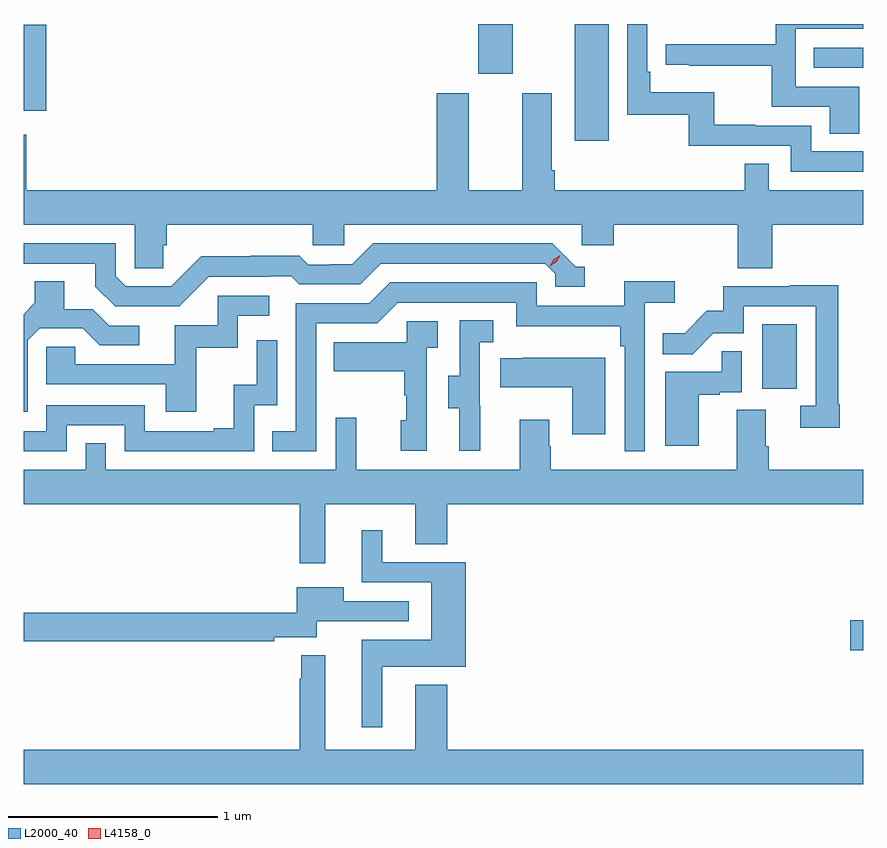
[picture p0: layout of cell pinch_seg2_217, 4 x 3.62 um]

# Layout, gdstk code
import gdstk
lib = gdstk.Library(unit=1e-6, precision=1e-09)
def R(c, l, rs):  # rectangles x0, y0, x1, y1
    for r in rs: c.add(gdstk.rectangle(r[:2], r[2:], *l))
def P(c, l, *ps):  # polygons
    for p in ps: c.add(gdstk.Polygon(p, *l))
L2000_40 = (2000, 40)
L4158_0 = (4158, 0)

pinch_seg2_217 = lib.new_cell('pinch_seg2_217')
R(pinch_seg2_217, L2000_40, [(1014.486,645.61,1014.549,645.752), (1014.068,646.854,1014.232,647.161), (1013.174,648.036,1013.335,648.592), (1010.549,648.179,1010.656,648.589), (1012.715,648.354,1012.879,648.592), (1014.313,648.384,1014.549,648.48)])
P(pinch_seg2_217, L2000_40, [(1014.549,647.985),(1014.3,647.985),(1014.3,648.108),(1014.035,648.108),(1014.035,648.113),(1013.839,648.113),(1013.839,648.268),(1013.534,648.268),(1013.534,648.364),(1013.52,648.364),(1013.52,648.592),(1013.424,648.592),(1013.424,648.159),(1013.718,648.159),(1013.718,648.012),(1014.204,648.012),(1014.204,647.889),(1014.549,647.889)],
  [(1014.529,648.294),(1014.228,648.294),(1014.228,648.57),(1014.549,648.57),(1014.549,648.592),(1014.132,648.592),(1014.132,648.495),(1013.607,648.495),(1013.607,648.399),(1013.719,648.399),(1013.719,648.394),(1014.112,648.394),(1014.112,648.198),(1014.389,648.198),(1014.389,648.07),(1014.529,648.07)],
  [(1011.215,647.538),(1011.23,647.538),(1011.23,647.636),(1011.927,647.636),(1011.927,647.538),(1012.077,647.538),(1012.077,647.636),(1013.208,647.636),(1013.208,647.538),(1013.36,647.538),(1013.36,647.636),(1013.951,647.636),(1013.951,647.428),(1014.116,647.428),(1014.116,647.636),(1014.549,647.636),(1014.549,647.8),(1014.099,647.8),(1014.099,647.927),(1013.983,647.927),(1013.983,647.8),(1013.078,647.8),(1013.078,647.896),(1013.065,647.896),(1013.065,648.262),(1012.925,648.262),(1012.925,647.8),(1012.669,647.8),(1012.669,648.262),(1012.517,648.262),(1012.517,647.8),(1010.561,647.8),(1010.561,648.064),(1010.549,648.064),(1010.549,647.636),(1011.078,647.636),(1011.078,647.428),(1011.215,647.428)],
  [(1011.432,647.388),(1011.725,647.388),(1011.725,647.391),(1011.824,647.391),(1011.863,647.352),(1012.152,647.352),(1012.251,647.451),(1013.034,647.451),(1013.082,647.403),(1013.082,647.34),(1013.221,647.34),(1013.221,647.436),(1013.178,647.436),(1013.067,647.547),(1012.214,647.547),(1012.115,647.448),(1012.008,647.448),(1012.008,647.445),(1011.905,647.445),(1011.863,647.488),(1011.63,647.488),(1011.63,647.485),(1011.394,647.485),(1011.252,647.343),(1011.036,647.343),(1010.988,647.391),(1010.988,647.547),(1010.549,647.547),(1010.549,647.451),(1010.891,647.451),(1010.891,647.341),(1010.985,647.247),(1011.291,647.247)],
  [(1010.568,647.085),(1010.625,647.142),(1010.831,647.142),(1010.912,647.061),(1011.1,647.061),(1011.1,647.154),(1010.958,647.154),(1010.878,647.234),(1010.743,647.234),(1010.743,647.366),(1010.603,647.366),(1010.603,647.264),(1010.549,647.21),(1010.549,646.746),(1010.568,646.746)],
  [(1011.942,647.166),(1012.233,647.166),(1012.332,647.265),(1012.896,647.265),(1012.896,647.153),(1013.392,647.153),(1013.392,647.057),(1013.412,647.057),(1013.412,646.557),(1013.508,646.557),(1013.508,647.264),(1013.65,647.264),(1013.65,647.366),(1013.411,647.366),(1013.411,647.25),(1012.992,647.25),(1012.992,647.361),(1012.295,647.361),(1012.196,647.262),(1011.846,647.262),(1011.846,646.653),(1011.733,646.653),(1011.733,646.557),(1011.942,646.557)],
  [(1014.437,646.78),(1014.43,646.78),(1014.43,647.348),(1014.199,647.348),(1014.199,647.343),(1013.881,647.343),(1013.881,647.226),(1013.804,647.226),(1013.697,647.119),(1013.593,647.119),(1013.593,647.02),(1013.737,647.02),(1013.835,647.118),(1013.979,647.118),(1013.979,647.247),(1014.321,647.247),(1014.321,646.773),(1014.249,646.773),(1014.249,646.668),(1014.437,646.668)],
  [(1011.371,647.049),(1011.57,647.049),(1011.57,647.202),(1011.718,647.202),(1011.718,647.298),(1011.474,647.298),(1011.474,647.157),(1011.269,647.157),(1011.269,646.971),(1010.795,646.971),(1010.795,647.055),(1010.658,647.055),(1010.658,646.875),(1011.227,646.875),(1011.227,646.746),(1011.371,646.746)],
  [(1012.724,646.773),(1012.722,646.773),(1012.722,647.077),(1012.786,647.077),(1012.786,647.18),(1012.626,647.18),(1012.626,646.917),(1012.571,646.917),(1012.571,646.762),(1012.625,646.762),(1012.625,646.56),(1012.724,646.56)],
  [(1012.47,647.051),(1012.522,647.051),(1012.522,647.175),(1012.374,647.175),(1012.374,647.077),(1012.027,647.077),(1012.027,646.937),(1012.362,646.937),(1012.362,646.823),(1012.372,646.823),(1012.372,646.704),(1012.346,646.704),(1012.346,646.56),(1012.47,646.56)],
  [(1010.754,646.68),(1011.03,646.68),(1011.03,646.557),(1011.648,646.557),(1011.648,646.776),(1011.756,646.776),(1011.756,647.086),(1011.66,647.086),(1011.66,646.874),(1011.551,646.874),(1011.551,646.666),(1011.455,646.666),(1011.455,646.653),(1011.126,646.653),(1011.126,646.776),(1010.658,646.776),(1010.658,646.653),(1010.549,646.653),(1010.549,646.557),(1010.754,646.557)],
  [(1013.764,646.827),(1013.864,646.827),(1013.864,646.839),(1013.97,646.839),(1013.97,647.033),(1013.875,647.033),(1013.875,646.935),(1013.606,646.935),(1013.606,646.584),(1013.764,646.584)],
  [(1013.32,647.002),(1012.927,647.002),(1012.927,646.999),(1012.819,646.999),(1012.819,646.862),(1013.162,646.862),(1013.162,646.638),(1013.32,646.638)],
  [(1011.985,646.304),(1012.415,646.304),(1012.415,646.114),(1012.568,646.114),(1012.568,646.304),(1014.549,646.304),(1014.549,646.468),(1014.098,646.468),(1014.098,646.58),(1014.085,646.58),(1014.085,646.754),(1013.945,646.754),(1013.945,646.468),(1013.061,646.468),(1013.061,646.58),(1013.053,646.58),(1013.053,646.708),(1012.913,646.708),(1012.913,646.468),(1012.133,646.468),(1012.133,646.717),(1012.035,646.717),(1012.035,646.468),(1010.94,646.468),(1010.94,646.595),(1010.844,646.595),(1010.844,646.468),(1010.549,646.468),(1010.549,646.304),(1011.864,646.304),(1011.864,646.023),(1011.985,646.023)],
  [(1012.258,645.53),(1012.654,645.53),(1012.654,646.029),(1012.258,646.029),(1012.258,646.18),(1012.16,646.18),(1012.16,645.933),(1012.49,645.933),(1012.49,645.658),(1012.16,645.658),(1012.16,645.243),(1012.258,645.243)],
  [(1011.742,645.672),(1011.945,645.672),(1011.945,645.747),(1012.384,645.747),(1012.384,645.843),(1012.075,645.843),(1012.075,645.91),(1011.849,645.91),(1011.849,645.788),(1010.549,645.788),(1010.549,645.652),(1011.742,645.652)],
  [(1014.549,645.136),(1012.568,645.136),(1012.568,645.445),(1012.415,645.445),(1012.415,645.136),(1011.985,645.136),(1011.985,645.586),(1011.872,645.586),(1011.872,645.473),(1011.864,645.473),(1011.864,645.136),(1010.549,645.136),(1010.549,644.972),(1014.549,644.972)])
P(pinch_seg2_217, L4158_0, [(1013.056,647.438),(1013.056,647.439),(1013.073,647.471),(1013.104,647.49),(1013.104,647.49),(1013.104,647.49),(1013.087,647.457),(1013.056,647.438)])

lib.write_gds('pinch_seg2_217.gds')
